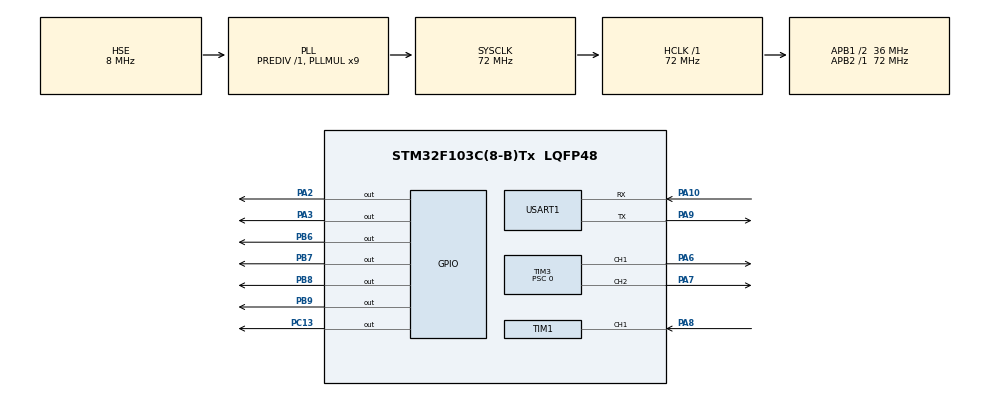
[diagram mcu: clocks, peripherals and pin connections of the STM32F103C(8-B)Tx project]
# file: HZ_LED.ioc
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Dma.Request0=USART1_RX
Dma.Request1=USART1_TX
Dma.USART1_RX.0.Direction=DMA_PERIPH_TO_MEMORY
Dma.USART1_RX.0.Instance=DMA1_Channel5
Dma.USART1_RX.0.MemDataAlignment=DMA_MDATAALIGN_BYTE
Dma.USART1_RX.0.MemInc=DMA_MINC_ENABLE
Dma.USART1_RX.0.Mode=DMA_NORMAL
Dma.USART1_RX.0.PeriphDataAlignment=DMA_PDATAALIGN_BYTE
Dma.USART1_RX.0.PeriphInc=DMA_PINC_DISABLE
Dma.USART1_RX.0.Priority=DMA_PRIORITY_VERY_HIGH
Dma.USART1_TX.1.Direction=DMA_MEMORY_TO_PERIPH
Dma.USART1_TX.1.Instance=DMA1_Channel4
Dma.USART1_TX.1.MemDataAlignment=DMA_MDATAALIGN_BYTE
Dma.USART1_TX.1.MemInc=DMA_MINC_ENABLE
Dma.USART1_TX.1.Mode=DMA_NORMAL
Dma.USART1_TX.1.PeriphDataAlignment=DMA_PDATAALIGN_BYTE
Dma.USART1_TX.1.PeriphInc=DMA_PINC_DISABLE
Dma.USART1_TX.1.Priority=DMA_PRIORITY_VERY_HIGH
Mcu.Family=STM32F1
Mcu.Name=STM32F103C(8-B)Tx
Mcu.Package=LQFP48
NVIC.DMA1_Channel4_IRQn=true\:0\:0\:false\:false\:true\:false
NVIC.DMA1_Channel5_IRQn=true\:0\:0\:false\:false\:true\:false
NVIC.PriorityGroup=NVIC_PRIORITYGROUP_4
NVIC.TIM1_BRK_IRQn=true\:0\:0\:false\:false\:true\:true
NVIC.TIM1_CC_IRQn=true\:0\:0\:false\:false\:true\:true
NVIC.TIM1_TRG_COM_IRQn=true\:0\:0\:false\:false\:true\:true
NVIC.TIM1_UP_IRQn=true\:0\:0\:false\:false\:true\:true
NVIC.USART1_IRQn=true\:0\:0\:false\:false\:true\:true
PA10.Mode=Asynchronous
PA10.Signal=USART1_RX
PA13.Mode=Serial_Wire
PA13.Signal=SYS_JTMS-SWDIO
PA14.Mode=Serial_Wire
PA14.Signal=SYS_JTCK-SWCLK
PA2.GPIO_Speed=GPIO_SPEED_FREQ_HIGH
PA2.PinState=GPIO_PIN_SET
PA2.Signal=GPIO_Output
PA3.GPIO_Speed=GPIO_SPEED_FREQ_HIGH
PA3.PinState=GPIO_PIN_SET
PA3.Signal=GPIO_Output
PA6.GPIO_Speed=GPIO_SPEED_FREQ_HIGH
PA6.Signal=S_TIM3_CH1
PA7.GPIO_Speed=GPIO_SPEED_FREQ_HIGH
PA7.Signal=S_TIM3_CH2
PA8.Signal=S_TIM1_CH1
PA9.Mode=Asynchronous
PA9.Signal=USART1_TX
PB6.GPIO_Speed=GPIO_SPEED_FREQ_HIGH
PB6.PinState=GPIO_PIN_SET
PB6.Signal=GPIO_Output
PB7.GPIO_PuPd=GPIO_NOPULL
PB7.GPIO_Speed=GPIO_SPEED_FREQ_HIGH
PB7.PinState=GPIO_PIN_SET
PB7.Signal=GPIO_Output
PB8.GPIO_PuPd=GPIO_NOPULL
PB8.GPIO_Speed=GPIO_SPEED_FREQ_HIGH
PB8.PinState=GPIO_PIN_SET
PB8.Signal=GPIO_Output
PB9.GPIO_PuPd=GPIO_NOPULL
PB9.GPIO_Speed=GPIO_SPEED_FREQ_HIGH
PB9.PinState=GPIO_PIN_SET
PB9.Signal=GPIO_Output
PC13-TAMPER-RTC.GPIO_ModeDefaultOutputPP=GPIO_MODE_OUTPUT_PP
PC13-TAMPER-RTC.GPIO_PuPd=GPIO_NOPULL
PC13-TAMPER-RTC.GPIO_Speed=GPIO_SPEED_FREQ_HIGH
PC13-TAMPER-RTC.PinState=GPIO_PIN_SET
PC13-TAMPER-RTC.Signal=GPIO_Output
PC14-OSC32_IN.Mode=LSE-External-Oscillator
PC14-OSC32_IN.Signal=RCC_OSC32_IN
PC15-OSC32_OUT.Mode=LSE-External-Oscillator
PC15-OSC32_OUT.Signal=RCC_OSC32_OUT
PD0-OSC_IN.Mode=HSE-External-Oscillator
PD0-OSC_IN.Signal=RCC_OSC_IN
PD1-OSC_OUT.Mode=HSE-External-Oscillator
PD1-OSC_OUT.Signal=RCC_OSC_OUT
ProjectManager.HeapSize=0x200
ProjectManager.StackSize=0x400
ProjectManager.TargetToolchain=MDK-ARM V5
RCC.AHBFreq_Value=72000000
RCC.APB1CLKDivider=RCC_HCLK_DIV2
RCC.APB1Freq_Value=36000000
RCC.APB1TimFreq_Value=72000000
RCC.APB2Freq_Value=72000000
RCC.APB2TimFreq_Value=72000000
RCC.HCLKFreq_Value=72000000
RCC.PLLMUL=RCC_PLL_MUL9
RCC.PLLSourceVirtual=RCC_PLLSOURCE_HSE
RCC.SYSCLKFreq_VALUE=72000000
RCC.SYSCLKSource=RCC_SYSCLKSOURCE_PLLCLK
RCC.USBFreq_Value=72000000
SH.S_TIM1_CH1.0=TIM1_CH1,Input_Capture1_from_TI1
SH.S_TIM3_CH1.0=TIM3_CH1,PWM Generation1 CH1
SH.S_TIM3_CH2.0=TIM3_CH2,PWM Generation2 CH2
TIM1.AutoReloadPreload=TIM_AUTORELOAD_PRELOAD_ENABLE
TIM1.Channel-Input_Capture1_from_TI1=TIM_CHANNEL_1
TIM1.Period=60000
TIM1.Prescaler=0
TIM1.RepetitionCounter=60000
TIM3.Channel-PWM\ Generation1\ CH1=TIM_CHANNEL_1
TIM3.Channel-PWM\ Generation2\ CH2=TIM_CHANNEL_2
TIM3.Period=1800-1
TIM3.Prescaler=0
TIM3.Pulse-PWM\ Generation1\ CH1=900
TIM3.Pulse-PWM\ Generation2\ CH2=900
USART1.VirtualMode=VM_ASYNC
VP_TIM1_VS_ClockSourceINT.Mode=Internal
VP_TIM3_VS_ClockSourceINT.Mode=Internal
board=custom

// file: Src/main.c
#include "main.h"
#include "stm32f1xx_hal.h"
#include "dma.h"
#include "tim.h"
#include "usart.h"
#include "gpio.h"

/* USER CODE BEGIN Includes */
#include "TM1637.h"
/* USER CODE END Includes */

/* USER CODE BEGIN PV */
/* Private variables ---------------------------------------------------------*/

/* USER CODE END PV */

void SystemClock_Config(void);

/* USER CODE BEGIN PFP */
/* Private function prototypes -----------------------------------------------*/
/* USER CODE END PFP */
/* USER CODE BEGIN 0 */

uint32_t capture_Buf[3] = {0}; //存放计数值
uint8_t capture_Cnt = 0; //状态标志位
uint32_t high_time; //高电平时间

void HAL_TIM_IC_CaptureCallback(TIM_HandleTypeDef *htim)
{

	if(TIM1 == htim->Instance)
	{
		switch(capture_Cnt){
			case 1:
				capture_Buf[0] = HAL_TIM_ReadCapturedValue(&htim1,TIM_CHANNEL_1);	//获取当前的捕获值.
				__HAL_TIM_SET_CAPTUREPOLARITY(&htim1,TIM_CHANNEL_1,TIM_ICPOLARITY_FALLING);  //设置为下降沿捕获
				capture_Cnt++;
				break;
			case 2:
				capture_Buf[1] = HAL_TIM_ReadCapturedValue(&htim1,TIM_CHANNEL_1);//获取当前的捕获值.
				HAL_TIM_IC_Stop_IT(&htim1,TIM_CHANNEL_1); 	//停止捕获   或者: __HAL_TIM_DISABLE(&htim5);
				capture_Cnt++;
		}
	}
}

void delay_1us(void)
{
		__NOP();__NOP();__NOP();__NOP();__NOP();__NOP();__NOP();__NOP();__NOP();__NOP();__NOP();__NOP();__NOP();__NOP();__NOP();
		__NOP();__NOP();__NOP();__NOP();__NOP();__NOP();__NOP();__NOP();__NOP();__NOP();__NOP();__NOP();__NOP();__NOP();__NOP();
	    __NOP();//__NOP();__NOP();__NOP();__NOP();__NOP();__NOP();__NOP();__NOP();
}
void delay_us(uint32_t nTimer)
{
	uint32_t i=0;
	for(i=0;i<nTimer;i++)
		delay_1us();
}

void delay_ms(uint16_t nTimer)
{
    uint32_t i=0;
	for(i=0;i<nTimer;i++)
	       delay_us(1000);
}
int fputc(int ch,FILE *f)
{
    HAL_UART_Transmit(&huart1,(uint8_t*)&ch,1,10);
    return ch;
}
/* USER CODE END 0 */

int main(void)
{
  /* USER CODE BEGIN 1 */
	delay_ms(500);
  /* USER CODE END 1 */

  /* MCU Configuration----------------------------------------------------------*/

  /* Reset of all peripherals, Initializes the Flash interface and the Systick. */
  HAL_Init();

  /* Configure the system clock */
  SystemClock_Config();

  /* Initialize all configured peripherals */
  MX_GPIO_Init();
  MX_DMA_Init();
  MX_USART1_UART_Init();
  MX_TIM1_Init();
  MX_TIM3_Init();
  /* USER CODE BEGIN 2 */
	HAL_TIM_PWM_Start(&htim3,TIM_CHANNEL_1);
	HAL_TIM_PWM_Start(&htim3,TIM_CHANNEL_2);
//	HAL_TIM_IC_Start_IT(&htim1,TIM_CHANNEL_1);
//	HAL_TIM_IC_Start_IT(&htim1,TIM_CHANNEL_2);
    TM1637_Init();

	display_char(0,15);
    display_char(1,0);
    display_char(2,0);
    display_char(3,0);
    display_char(4,0);
    display_char(5,0);
  /* USER CODE END 2 */

  /* Infinite loop */
	while (1)
{

  /* USER CODE BEGIN 3 */
  HAL_GPIO_TogglePin(GPIOC, GPIO_PIN_13);

  switch (capture_Cnt){
	case 0:
		capture_Cnt++;
		__HAL_TIM_SET_CAPTUREPOLARITY(&htim1, TIM_CHANNEL_1, TIM_INPUTCHANNELPOLARITY_RISING);
		HAL_TIM_IC_Start_IT(&htim1, TIM_CHANNEL_1);	//??????       ??: __HAL_TIM_ENABLE(&htim5);
		break;
	case 3:
		high_time = capture_Buf[1]- capture_Buf[0];    //?????
	  if(high_time>0 && high_time<60000)
		{
			float feq=72000.0/high_time;
			if(feq>2 && feq<100)
			{
				printf("high_time=%0.3f KHz",feq);

				uint32_t dot=feq*1000;
				uint8_t b_dat=dot/10000;
				uint8_t s_dat=(dot%10000)/1000;
				uint8_t dot1=((dot%10000)%1000)/100;
				uint8_t dot2=(((dot%10000)%1000)%100)/10;
				uint8_t dot3=(((dot%10000)%1000)%100)%10;

				display_char(1,b_dat);
				display_char(2,s_dat);
				display_char(3,dot1);
				display_char(4,dot2);
				display_char(5,dot3);
			}
			else
			{
				display_char(1,0);
				display_char(2,0);
				display_char(3,0);
				display_char(4,0);
				display_char(5,0);
			}
		}

		HAL_Delay(200);   //??1S
		capture_Cnt = 0;  //?????
		break;

	}
	if(high_time==0)
	{
		HAL_Delay(1000);   //??1S
		printf("频率测试中，请等待！\r\n");
	}

}
  /* USER CODE END 3 */

}

void SystemClock_Config(void)
{

  RCC_OscInitTypeDef RCC_OscInitStruct;
  RCC_ClkInitTypeDef RCC_ClkInitStruct;

    /**Initializes the CPU, AHB and APB busses clocks
    */
  RCC_OscInitStruct.OscillatorType = RCC_OSCILLATORTYPE_HSE;
  RCC_OscInitStruct.HSEState = RCC_HSE_ON;
  RCC_OscInitStruct.HSEPredivValue = RCC_HSE_PREDIV_DIV1;
  RCC_OscInitStruct.HSIState = RCC_HSI_ON;
  RCC_OscInitStruct.PLL.PLLState = RCC_PLL_ON;
  RCC_OscInitStruct.PLL.PLLSource = RCC_PLLSOURCE_HSE;
  RCC_OscInitStruct.PLL.PLLMUL = RCC_PLL_MUL9;
  if (HAL_RCC_OscConfig(&RCC_OscInitStruct) != HAL_OK)
  {
    _Error_Handler(__FILE__, __LINE__);
  }

    /**Initializes the CPU, AHB and APB busses clocks
    */
  RCC_ClkInitStruct.ClockType = RCC_CLOCKTYPE_HCLK|RCC_CLOCKTYPE_SYSCLK
                              |RCC_CLOCKTYPE_PCLK1|RCC_CLOCKTYPE_PCLK2;
  RCC_ClkInitStruct.SYSCLKSource = RCC_SYSCLKSOURCE_PLLCLK;
  RCC_ClkInitStruct.AHBCLKDivider = RCC_SYSCLK_DIV1;
  RCC_ClkInitStruct.APB1CLKDivider = RCC_HCLK_DIV2;
  RCC_ClkInitStruct.APB2CLKDivider = RCC_HCLK_DIV1;

  if (HAL_RCC_ClockConfig(&RCC_ClkInitStruct, FLASH_LATENCY_2) != HAL_OK)
  {
    _Error_Handler(__FILE__, __LINE__);
  }

    /**Configure the Systick interrupt time
    */
  HAL_SYSTICK_Config(HAL_RCC_GetHCLKFreq()/1000);

    /**Configure the Systick
    */
  HAL_SYSTICK_CLKSourceConfig(SYSTICK_CLKSOURCE_HCLK);

  /* SysTick_IRQn interrupt configuration */
  HAL_NVIC_SetPriority(SysTick_IRQn, 0, 0);
}

void _Error_Handler(char *file, int line)
{
  while(1)
  {
  }
}

/************************ (C) COPYRIGHT STMicroelectronics *****END OF FILE****/
